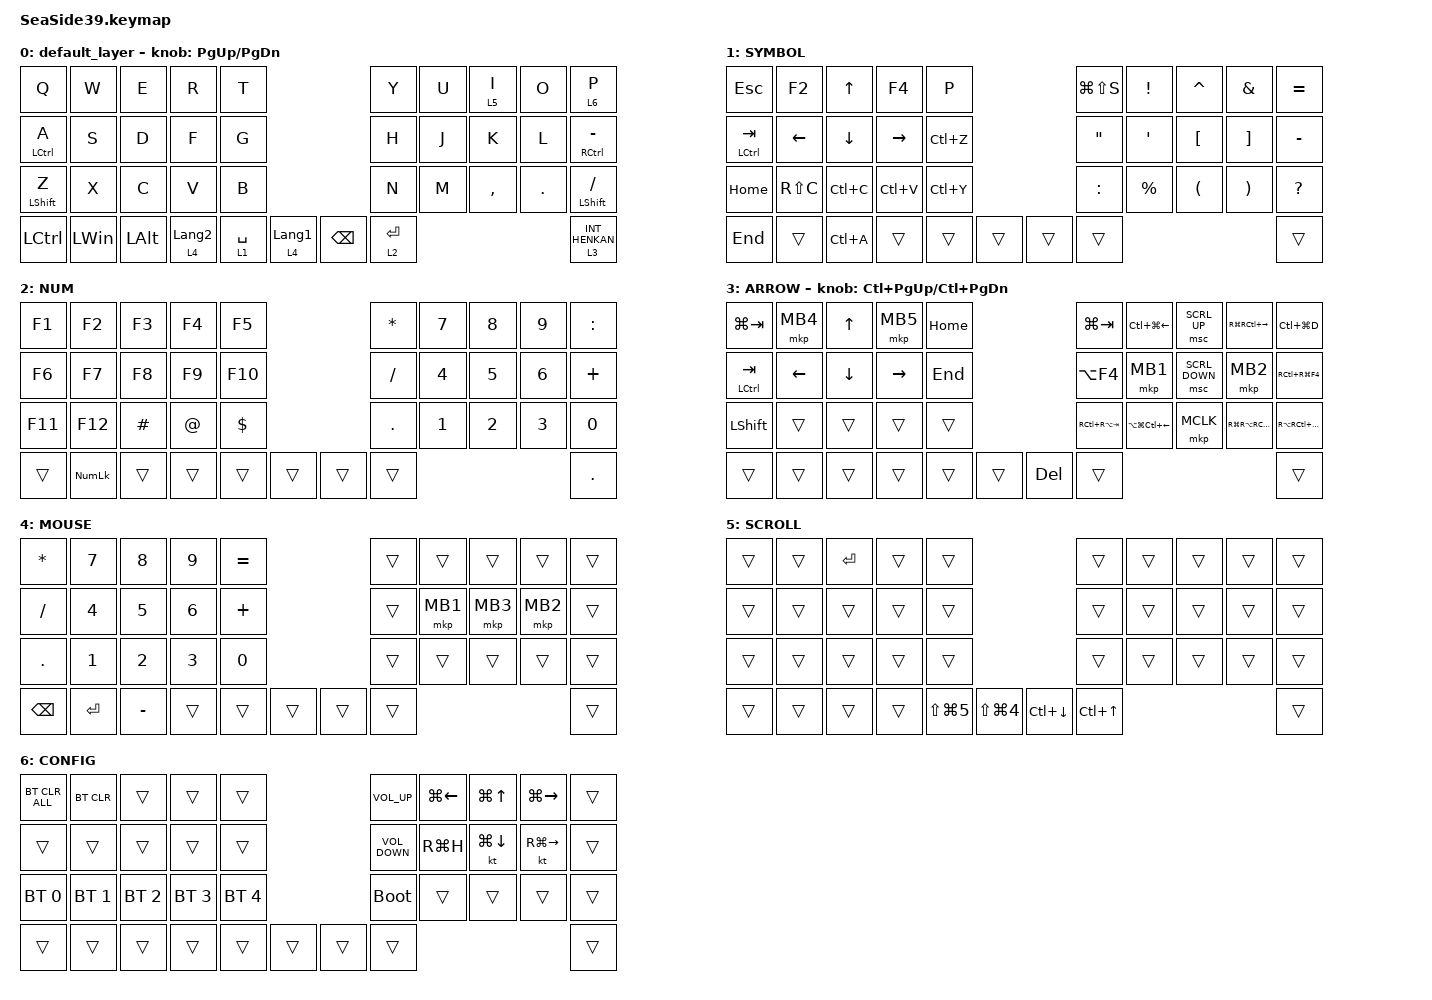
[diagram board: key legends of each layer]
#include <behaviors.dtsi>
#include <dt-bindings/zmk/bt.h>
#include <dt-bindings/zmk/keys.h>
#include <dt-bindings/zmk/pointing.h>

#define MOUSE 4
#define SCROLL 5
#define NUM 6

&mt {
    flavor = "balanced";
    quick-tap-ms = <300>;
};

&lt {
    flavor = "balanced";
    quick-tap-ms = <300>;
};

/ {
    combos { compatible = "zmk,combos"; };

    macros {
        to_layer_0: to_layer_0 {
            compatible = "zmk,behavior-macro-one-param";
            #binding-cells = <1>;
            bindings = <&to 0 &macro_param_1to1 &kp MACRO_PLACEHOLDER>;
            label = "TO_LAYER_0";
        };
    };

    behaviors {
        lt_to_layer_0: lt_to_layer_0 {
            compatible = "zmk,behavior-hold-tap";
            label = "LAYER_TAP_TO_0";
            bindings = <&mo>, <&to_layer_0>;

            #binding-cells = <2>;
            tapping-term-ms = <200>;
        };
    };

    keymap {
        compatible = "zmk,keymap";

        default_layer {
            bindings = <
&kp Q               &kp W         &kp E         &kp R             &kp T                                        &kp Y        &kp U  &lt 5 I    &kp O       &lt 6 P
&mt LEFT_CONTROL A  &kp S         &kp D         &kp F             &kp G                                        &kp H        &kp J  &kp K      &kp L       &mt RCTRL MINUS
&mt LEFT_SHIFT Z    &kp X         &kp C         &kp V             &kp B                                        &kp N        &kp M  &kp COMMA  &kp PERIOD  &mt LEFT_SHIFT SLASH
&kp LEFT_CONTROL    &kp LEFT_WIN  &kp LEFT_ALT  &lt 4 LANGUAGE_2  &lt 1 SPACE  &lt 4 LANGUAGE_1      &kp BSPC  &lt 2 ENTER                                &lt 3 INT_HENKAN
            >;

            sensor-bindings = <&inc_dec_kp PG_UP PAGE_DOWN>;
        };

        SYMBOL {
            bindings = <
&kp ESCAPE            &kp F2     &kp UP     &kp F4           &kp P                          &kp LG(LS(S))      &kp EXCLAMATION   &kp CARET             &kp AMPS               &kp EQUAL
&mt LEFT_CONTROL TAB  &kp LEFT   &kp DOWN   &kp RIGHT_ARROW  &kp LC(Z)                      &kp DOUBLE_QUOTES  &kp SINGLE_QUOTE  &kp LEFT_BRACKET      &kp RIGHT_BRACKET      &kp MINUS
&kp HOME              &kp RS(C)  &kp LC(C)  &kp LC(V)        &kp LC(Y)                      &kp COLON          &kp PERCENT       &kp LEFT_PARENTHESIS  &kp RIGHT_PARENTHESIS  &kp QUESTION
&kp END               &trans     &kp LC(A)  &trans           &trans     &trans      &trans  &trans                                                                            &trans
            >;
        };

        NUM {
            bindings = <
&kp F1   &kp F2          &kp F3    &kp F4       &kp F5                          &kp ASTERISK  &kp N7        &kp N8        &kp NUMBER_9  &kp COLON
&kp F6   &kp F7          &kp F8    &kp F9       &kp F10                         &kp SLASH     &kp NUMBER_4  &kp NUMBER_5  &kp NUMBER_6  &kp PLUS
&kp F11  &kp F12         &kp HASH  &kp AT_SIGN  &kp DOLLAR                      &kp PERIOD    &kp NUMBER_1  &kp NUMBER_2  &kp NUMBER_3  &kp NUMBER_0
&trans   &kp KP_NUMLOCK  &trans    &trans       &trans      &trans      &trans  &trans                                                  &kp PERIOD
            >;
        };

        ARROW {
            bindings = <
&kp LG(TAB)           &mkp MB4        &kp UP_ARROW    &mkp MB5         &kp HOME                          &kp LG(TAB)      &kp LC(LG(LEFT_ARROW))      &msc SCRL_UP    &kp RG(RC(RIGHT_ARROW))      &kp LC(LG(D))
&mt LEFT_CONTROL TAB  &kp LEFT_ARROW  &kp DOWN_ARROW  &kp RIGHT_ARROW  &kp END                           &kp LA(F4)       &mkp MB1                    &msc SCRL_DOWN  &mkp MB2                     &kp RC(RG(F4))
&kp LEFT_SHIFT        &trans          &trans          &trans           &trans                            &kp RC(RA(TAB))  &kp LA(LG(LC(LEFT_ARROW)))  &mkp MCLK       &kp RG(RA(RC(RIGHT_ARROW)))  &kp RA(RC(RG(RIGHT_ARROW)))
&trans                &trans          &trans          &trans           &trans    &trans      &kp DELETE  &trans                                                                                    &trans
            >;

            sensor-bindings = <&inc_dec_kp LC(PAGE_UP) LC(PAGE_DOWN)>;
        };

        MOUSE {
            bindings = <
&kp ASTERISK   &kp NUMBER_7  &kp N8        &kp N9        &kp EQUAL                      &trans  &trans    &trans    &trans    &trans
&kp SLASH      &kp NUMBER_4  &kp N5        &kp NUMBER_6  &kp PLUS                       &trans  &mkp MB1  &mkp MB3  &mkp MB2  &trans
&kp PERIOD     &kp NUMBER_1  &kp NUMBER_2  &kp NUMBER_3  &kp N0                         &trans  &trans    &trans    &trans    &trans
&kp BACKSPACE  &kp ENTER     &kp MINUS     &trans        &trans     &trans      &trans  &trans                                &trans
            >;
        };

        SCROLL {
            bindings = <
&trans  &trans  &kp ENTER  &trans  &trans                                            &trans            &trans  &trans  &trans  &trans
&trans  &trans  &trans     &trans  &trans                                            &trans            &trans  &trans  &trans  &trans
&trans  &trans  &trans     &trans  &trans                                            &trans            &trans  &trans  &trans  &trans
&trans  &trans  &trans     &trans  &kp LS(LG(N5))  &kp LS(LG(N4))      &kp LC(DOWN)  &kp LC(UP_ARROW)                          &trans
            >;
        };

        CONFIG {
            bindings = <
&bt BT_CLR_ALL  &bt BT_CLR    &trans        &trans        &trans                            &kp C_VOLUME_UP    &kp LG(LEFT_ARROW)  &kp LG(UP)    &kp LG(RIGHT)  &trans
&trans          &trans        &trans        &trans        &trans                            &kp C_VOLUME_DOWN  &kp RG(H)           &kt LG(DOWN)  &kt RG(RIGHT)  &trans
&bt BT_SEL 0    &bt BT_SEL 1  &bt BT_SEL 2  &bt BT_SEL 3  &bt BT_SEL 4                      &bootloader        &trans              &trans        &trans         &trans
&trans          &trans        &trans        &trans        &trans        &trans      &trans  &trans                                                              &trans
            >;
        };
    };
};
